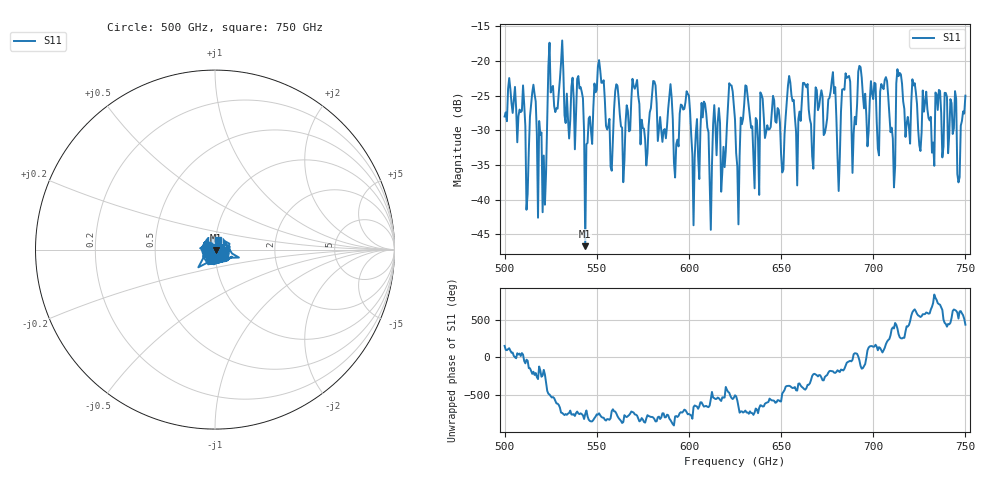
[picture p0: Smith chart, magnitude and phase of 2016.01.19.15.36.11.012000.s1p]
!Created with skrf (http://scikit-rf.org).
# GHz S RI R 50.0
!freq ReS11 ImS11
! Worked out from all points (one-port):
!   401 points, 500 GHz to 750 GHz, reference 50 ohm
!   lowest |S11| = -46.7 dB at 543.8 GHz (marker M1), VSWR 1.01, Z = 50.4 - j0.238 ohm
!   |S11| at or under -10 dB: start of sweep to end of sweep
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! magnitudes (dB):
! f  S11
! 500 GHz  -28.0
! 509.4 GHz  -27.2
! 512.5 GHz  -39.2
! 515.6 GHz  -23.4
! 521.2 GHz  -33.6
! 525 GHz  -24.5
! 531.2 GHz  -17.0
! 541.2 GHz  -23.8
! 543.8 GHz  -46.7
! 551.9 GHz  -21.3
! 556.9 GHz  -28.3
! 562.5 GHz  -27.7
! 593.8 GHz  -31.3
! 598.8 GHz  -24.4
! 602.5 GHz  -43.7
! 608.1 GHz  -25.9
! 611.2 GHz  -37.0
! 625 GHz  -28.4
! 650.6 GHz  -36.1
! 656.2 GHz  -25.8
! 687.5 GHz  -23.0
! 706.2 GHz  -22.7
! 710.6 GHz  -31.2
! 714.4 GHz  -21.7
! 718.8 GHz  -28.1
! 735 GHz  -27.1
! 746.9 GHz  -36.8
! 750 GHz  -25.0
